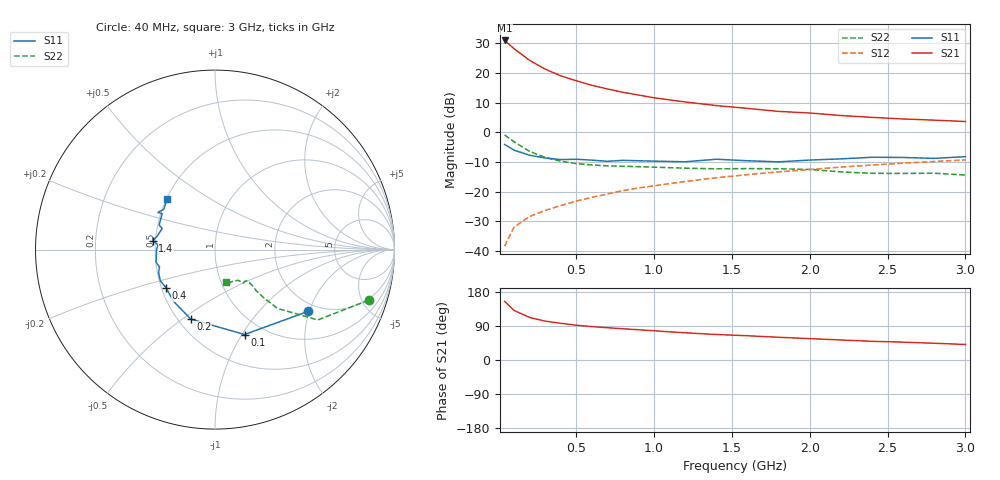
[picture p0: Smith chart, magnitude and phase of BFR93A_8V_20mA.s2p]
! Filename:  BFR93AG.S2P  Version:  2.0
! Philips part #: BFR93A  Date: May 1990
! Bias condition: Vce=8V, Ic=20mA
#  MHz  S  MA  R  50
! Freq  S11  S21  S12  S22  !GUM [dB]
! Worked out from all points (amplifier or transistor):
!   21 points, 40 MHz to 3 GHz, reference 50 ohm
!   highest |S21| = 31.0 dB at 40 MHz (marker M1)
!   |S21| within 3 dB of that: start of sweep to 106.8 MHz
!   unconditionally stable (mu >= 1): 691 MHz to 732 MHz; 847.8 MHz to 2.849 GHz
!   at 300 MHz: K = 0.81, MSG = 23.8 dB, |S12| = -26.4 dB
!   at 1 GHz: K = 1.03, MAG = 13.8 dB, |S12| = -18.1 dB
!   at 3 GHz: K = 0.99, MSG = 6.5 dB, |S12| = -9.3 dB
!   S11 on the Smith chart (normalised r, x): 40 MHz: 1.75, -1.97; 100 MHz: 0.81, -1.03; 200 MHz: 0.58, -0.54; 400 MHz: 0.53, -0.26; 1.4 GHz: 0.48, +0.06; 3 GHz: 0.50, +0.33
40  0.623 -33.5  35.36 154.9  0.012 76.1  0.901 -18.2
100  0.501 -70.8  25.82 130.9  0.025 62.7  0.694 -34.4
200  0.41 -109.3  16.36 112.3  0.038 62.0  0.477 -43.3
300  0.369 -129.1  11.63 102.7  0.048 63.3  0.377 -44.7
400  0.346 -141.8  8.956 96.9  0.058 65.8  0.325 -44.9
500  0.351 -150.3  7.403 91.8  0.069 66.7  0.297 -44.2
600  0.339 -158.0  6.202 88.2  0.08 69.2  0.281 -43.8
700  0.324 -162.5  5.386 85.2  0.091 69.8  0.272 -44.1
800  0.336 -168.1  4.723 82.5  0.104 70.2  0.267 -43.5
900  0.331 -171.1  4.25 79.8  0.115 70.7  0.263 -43.9
1000  0.326 179.9  3.818 77.1  0.125 70.7  0.258 -43.7
1200  0.318 175.4  3.245 71.8  0.148 70.5  0.248 -44.7
1400  0.351 171.7  2.823 67.3  0.171 69.8  0.242 -47.1
1600  0.331 167.2  2.53 64.0  0.193 69.3  0.244 -48.5
1800  0.317 158.1  2.248 60.0  0.215 68.1  0.243 -50.2
2000  0.34 156.3  2.114 56.4  0.235 67.2  0.236 -50.7
2200  0.356 145.7  1.918 52.8  0.259 66.7  0.215 -52.8
2400  0.379 147.0  1.784 49.3  0.28 64.9  0.203 -59.2
2600  0.376 145.8  1.677 47.1  0.301 63.7  0.202 -66.0
2800  0.363 141.8  1.601 44.2  0.322 62.7  0.204 -68.6
3000  0.388 133.5  1.519 41.0  0.342 60.9  0.19 -70.5
